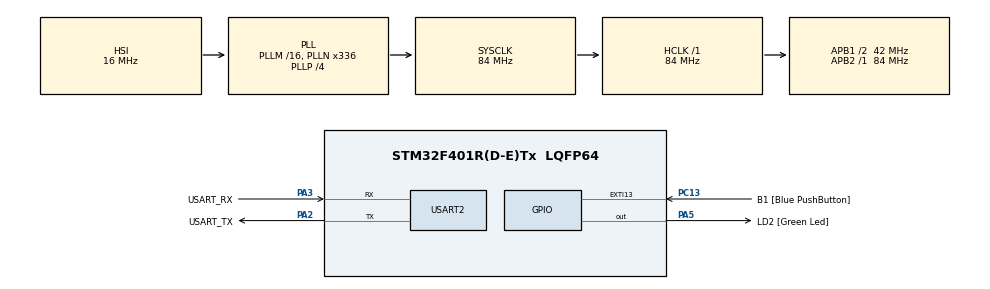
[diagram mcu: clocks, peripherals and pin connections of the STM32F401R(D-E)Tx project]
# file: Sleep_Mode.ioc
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Mcu.Family=STM32F4
Mcu.Name=STM32F401R(D-E)Tx
Mcu.Package=LQFP64
NVIC.EXTI15_10_IRQn=true\:0\:0\:false\:false\:true\:true\:true\:true
NVIC.PriorityGroup=NVIC_PRIORITYGROUP_0
NVIC.TIM2_IRQn=true\:0\:0\:false\:false\:true\:true\:true\:true
PA13.GPIO_Label=TMS
PA13.Signal=SYS_JTMS-SWDIO
PA14.GPIO_Label=TCK
PA14.Signal=SYS_JTCK-SWCLK
PA2.GPIO_Label=USART_TX
PA2.GPIO_Mode=GPIO_MODE_AF_PP
PA2.GPIO_PuPd=GPIO_NOPULL
PA2.GPIO_Speed=GPIO_SPEED_FREQ_LOW
PA2.Mode=Asynchronous
PA2.Signal=USART2_TX
PA3.GPIO_Label=USART_RX
PA3.GPIO_Mode=GPIO_MODE_AF_PP
PA3.GPIO_PuPd=GPIO_NOPULL
PA3.GPIO_Speed=GPIO_SPEED_FREQ_LOW
PA3.Mode=Asynchronous
PA3.Signal=USART2_RX
PA5.GPIO_Label=LD2 [Green Led]
PA5.GPIO_Mode=GPIO_MODE_OUTPUT_PP
PA5.GPIO_PuPd=GPIO_NOPULL
PA5.GPIO_Speed=GPIO_SPEED_FREQ_LOW
PA5.Signal=GPIO_Output
PB3.GPIO_Label=SWO
PB3.Signal=SYS_JTDO-SWO
PC13-ANTI_TAMP.GPIO_Label=B1 [Blue PushButton]
PC13-ANTI_TAMP.GPIO_ModeDefaultEXTI=GPIO_MODE_IT_FALLING
PC13-ANTI_TAMP.GPIO_PuPd=GPIO_NOPULL
PC13-ANTI_TAMP.Signal=GPXTI13
PC14-OSC32_IN.Signal=RCC_OSC32_IN
PC15-OSC32_OUT.Signal=RCC_OSC32_OUT
PH0\ -\ OSC_IN.Signal=RCC_OSC_IN
PH1\ -\ OSC_OUT.Signal=RCC_OSC_OUT
ProjectManager.HeapSize=0x200
ProjectManager.StackSize=0x400
ProjectManager.TargetToolchain=STM32CubeIDE
RCC.AHBFreq_Value=84000000
RCC.APB1CLKDivider=RCC_HCLK_DIV2
RCC.APB1Freq_Value=42000000
RCC.APB1TimFreq_Value=84000000
RCC.APB2Freq_Value=84000000
RCC.APB2TimFreq_Value=84000000
RCC.CortexFreq_Value=84000000
RCC.HCLKFreq_Value=84000000
RCC.HSE_VALUE=8000000
RCC.HSI_VALUE=16000000
RCC.LSE_VALUE=32768
RCC.PLLN=336
RCC.PLLP=RCC_PLLP_DIV4
RCC.PLLQ=7
RCC.SYSCLKFreq_VALUE=84000000
RCC.SYSCLKSource=RCC_SYSCLKSOURCE_PLLCLK
RCC.VCOOutputFreq_Value=336000000
TIM2.Period=839999
TIM2.Prescaler=999
USART2.VirtualMode=VM_ASYNC
VP_TIM2_VS_ClockSourceINT.Mode=Internal
board=NUCLEO-F401RE

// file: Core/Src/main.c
/* USER CODE BEGIN Header */
/**
  ******************************************************************************
  * @file           : main.c
  * @brief          : Main program body
  ******************************************************************************
  * @attention
  *
  * <h2><center>&copy; Copyright (c) 2021 STMicroelectronics.
  * All rights reserved.</center></h2>
  *
  * This software component is licensed by ST under BSD 3-Clause license,
  * the "License"; You may not use this file except in compliance with the
  * License. You may obtain a copy of the License at:
  *                        opensource.org/licenses/BSD-3-Clause
  *
  ******************************************************************************
  */
/* USER CODE END Header */
#include "main.h"

TIM_HandleTypeDef htim2;

UART_HandleTypeDef huart2;

/* USER CODE BEGIN PV */
uint8_t str[100];
/* USER CODE END PV */

void SystemClock_Config(void);
static void MX_GPIO_Init(void);
static void MX_USART2_UART_Init(void);
static void MX_TIM2_Init(void);

int main(void)
{

  /* MCU Configuration--------------------------------------------------------*/

  /* Reset of all peripherals, Initializes the Flash interface and the Systick. */
  HAL_Init();

  /* Configure the system clock */
  SystemClock_Config();

  /* Initialize all configured peripherals */
  MX_GPIO_Init();
  MX_USART2_UART_Init();
  MX_TIM2_Init();
  /* USER CODE BEGIN 2 */
//HAL_TIM_Base_Start_IT(&htim2);
  /* USER CODE END 2 */

  /* Infinite loop */
  /* USER CODE BEGIN WHILE */
  while (1)
  {

	  sprintf(str, "Going into SLEEP MODE in 5 seconds\r\n");
	  HAL_UART_Transmit(&huart2, str, strlen (str), 1000);

	  HAL_GPIO_WritePin(GPIOA, GPIO_PIN_5, 1); //Turn on LED2
  	  HAL_Delay(5000);	//Wait 5 s

/*    Suspend Tick increment to prevent wakeup by Systick interrupt.
	  Otherwise the Systick interrupt will wake up the device within 1ms (HAL time base)
*/
	  HAL_SuspendTick();

	  HAL_TIM_Base_Start_IT(&htim2);

	  HAL_GPIO_WritePin(GPIOA, GPIO_PIN_5, 0);  // Just to indicate that the sleep mode is activated

	  HAL_PWR_EnableSleepOnExit ();

//	  Enter Sleep Mode , wake up is done once User push-button is pressed
	  HAL_PWR_EnterSLEEPMode(PWR_MAINREGULATOR_ON, PWR_SLEEPENTRY_WFI);
	  // WFI Wait For Interrupt
	  // WFE Wait for Event

	  // Point of return from Sleep after Interrupt

//	  Resume Tick interrupt if disabled prior to sleep mode entry
	  HAL_ResumeTick();

	  sprintf(str,"WakeUP from SLEEP\r\n");
	  HAL_UART_Transmit(&huart2, str, strlen (str), 1000);

	  for (int i=0; i<20; i++)
	  {
		  HAL_GPIO_TogglePin(GPIOA, GPIO_PIN_5);
		  HAL_Delay(100);
	  }
    /* USER CODE END WHILE */

  }
}

void SystemClock_Config(void)
{
  RCC_OscInitTypeDef RCC_OscInitStruct = {0};
  RCC_ClkInitTypeDef RCC_ClkInitStruct = {0};

  /** Configure the main internal regulator output voltage
  */
  __HAL_RCC_PWR_CLK_ENABLE();
  __HAL_PWR_VOLTAGESCALING_CONFIG(PWR_REGULATOR_VOLTAGE_SCALE2);

  /** Initializes the RCC Oscillators according to the specified parameters
  * in the RCC_OscInitTypeDef structure.
  */
  RCC_OscInitStruct.OscillatorType = RCC_OSCILLATORTYPE_HSI;
  RCC_OscInitStruct.HSIState = RCC_HSI_ON;
  RCC_OscInitStruct.HSICalibrationValue = RCC_HSICALIBRATION_DEFAULT;
  RCC_OscInitStruct.PLL.PLLState = RCC_PLL_ON;
  RCC_OscInitStruct.PLL.PLLSource = RCC_PLLSOURCE_HSI;
  RCC_OscInitStruct.PLL.PLLM = 16;
  RCC_OscInitStruct.PLL.PLLN = 336;
  RCC_OscInitStruct.PLL.PLLP = RCC_PLLP_DIV4;
  RCC_OscInitStruct.PLL.PLLQ = 7;
  if (HAL_RCC_OscConfig(&RCC_OscInitStruct) != HAL_OK)
  {
    Error_Handler();
  }

  /** Initializes the CPU, AHB and APB buses clocks
  */
  RCC_ClkInitStruct.ClockType = RCC_CLOCKTYPE_HCLK|RCC_CLOCKTYPE_SYSCLK
                              |RCC_CLOCKTYPE_PCLK1|RCC_CLOCKTYPE_PCLK2;
  RCC_ClkInitStruct.SYSCLKSource = RCC_SYSCLKSOURCE_PLLCLK;
  RCC_ClkInitStruct.AHBCLKDivider = RCC_SYSCLK_DIV1;
  RCC_ClkInitStruct.APB1CLKDivider = RCC_HCLK_DIV2;
  RCC_ClkInitStruct.APB2CLKDivider = RCC_HCLK_DIV1;

  if (HAL_RCC_ClockConfig(&RCC_ClkInitStruct, FLASH_LATENCY_2) != HAL_OK)
  {
    Error_Handler();
  }
}

static void MX_TIM2_Init(void)
{

  TIM_ClockConfigTypeDef sClockSourceConfig = {0};
  TIM_MasterConfigTypeDef sMasterConfig = {0};

  htim2.Instance = TIM2;
  htim2.Init.Prescaler = 999;
  htim2.Init.CounterMode = TIM_COUNTERMODE_UP;
  htim2.Init.Period = 839999;
  htim2.Init.ClockDivision = TIM_CLOCKDIVISION_DIV1;
  htim2.Init.AutoReloadPreload = TIM_AUTORELOAD_PRELOAD_DISABLE;
  if (HAL_TIM_Base_Init(&htim2) != HAL_OK)
  {
    Error_Handler();
  }
  sClockSourceConfig.ClockSource = TIM_CLOCKSOURCE_INTERNAL;
  if (HAL_TIM_ConfigClockSource(&htim2, &sClockSourceConfig) != HAL_OK)
  {
    Error_Handler();
  }
  sMasterConfig.MasterOutputTrigger = TIM_TRGO_RESET;
  sMasterConfig.MasterSlaveMode = TIM_MASTERSLAVEMODE_DISABLE;
  if (HAL_TIMEx_MasterConfigSynchronization(&htim2, &sMasterConfig) != HAL_OK)
  {
    Error_Handler();
  }

}

static void MX_USART2_UART_Init(void)
{

  huart2.Instance = USART2;
  huart2.Init.BaudRate = 115200;
  huart2.Init.WordLength = UART_WORDLENGTH_8B;
  huart2.Init.StopBits = UART_STOPBITS_1;
  huart2.Init.Parity = UART_PARITY_NONE;
  huart2.Init.Mode = UART_MODE_TX_RX;
  huart2.Init.HwFlowCtl = UART_HWCONTROL_NONE;
  huart2.Init.OverSampling = UART_OVERSAMPLING_16;
  if (HAL_UART_Init(&huart2) != HAL_OK)
  {
    Error_Handler();
  }

}

static void MX_GPIO_Init(void)
{
  GPIO_InitTypeDef GPIO_InitStruct = {0};

  /* GPIO Ports Clock Enable */
  __HAL_RCC_GPIOC_CLK_ENABLE();
  __HAL_RCC_GPIOH_CLK_ENABLE();
  __HAL_RCC_GPIOA_CLK_ENABLE();
  __HAL_RCC_GPIOB_CLK_ENABLE();

  /*Configure GPIO pin Output Level */
  HAL_GPIO_WritePin(LD2_GPIO_Port, LD2_Pin, GPIO_PIN_RESET);

  /*Configure GPIO pin : B1_Pin */
  GPIO_InitStruct.Pin = B1_Pin;
  GPIO_InitStruct.Mode = GPIO_MODE_IT_FALLING;
  GPIO_InitStruct.Pull = GPIO_NOPULL;
  HAL_GPIO_Init(B1_GPIO_Port, &GPIO_InitStruct);

  /*Configure GPIO pin : LD2_Pin */
  GPIO_InitStruct.Pin = LD2_Pin;
  GPIO_InitStruct.Mode = GPIO_MODE_OUTPUT_PP;
  GPIO_InitStruct.Pull = GPIO_NOPULL;
  GPIO_InitStruct.Speed = GPIO_SPEED_FREQ_LOW;
  HAL_GPIO_Init(LD2_GPIO_Port, &GPIO_InitStruct);

  /* EXTI interrupt init*/
  HAL_NVIC_SetPriority(EXTI15_10_IRQn, 0, 0);
  HAL_NVIC_EnableIRQ(EXTI15_10_IRQn);

}

void Error_Handler(void)
{
  __disable_irq();
  while (1)
  {
  }
}
